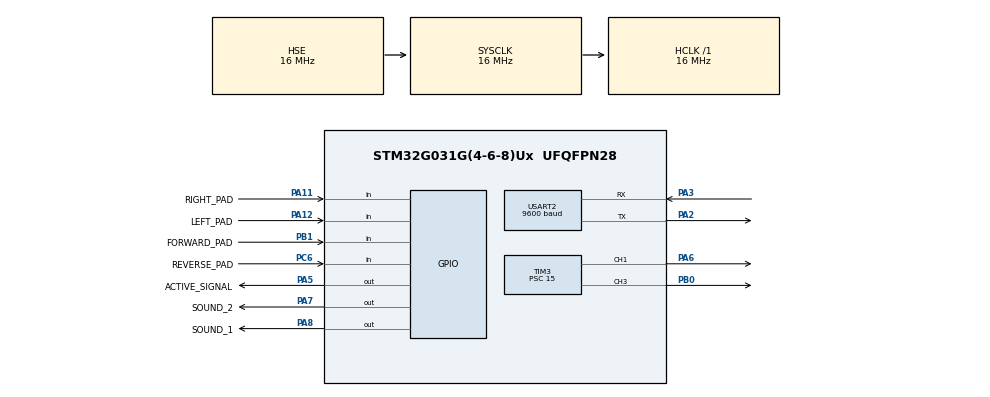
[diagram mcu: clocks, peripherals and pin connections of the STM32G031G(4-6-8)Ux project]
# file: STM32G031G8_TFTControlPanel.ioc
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Mcu.Family=STM32G0
Mcu.Name=STM32G031G(4-6-8)Ux
Mcu.Package=UFQFPN28
NVIC.USART2_IRQn=true\:0\:0\:false\:false\:true\:true\:true\:true
PA11\ [PA9].GPIO_Label=RIGHT_PAD
PA11\ [PA9].GPIO_PuPd=GPIO_PULLUP
PA11\ [PA9].Signal=GPIO_Input
PA12\ [PA10].GPIO_Label=LEFT_PAD
PA12\ [PA10].GPIO_PuPd=GPIO_PULLUP
PA12\ [PA10].Signal=GPIO_Input
PA13.Mode=Serial_Wire
PA13.Signal=SYS_SWDIO
PA14-BOOT0.Mode=Serial_Wire
PA14-BOOT0.Signal=SYS_SWCLK
PA2.Mode=Asynchronous
PA2.Signal=USART2_TX
PA3.Mode=Asynchronous
PA3.Signal=USART2_RX
PA5.GPIO_Label=ACTIVE_SIGNAL
PA5.PinState=GPIO_PIN_SET
PA5.Signal=GPIO_Output
PA6.Signal=S_TIM3_CH1
PA7.GPIO_Label=SOUND_2
PA7.GPIO_ModeDefaultOutputPP=GPIO_MODE_OUTPUT_PP
PA7.GPIO_PuPd=GPIO_NOPULL
PA7.PinState=GPIO_PIN_SET
PA7.Signal=GPIO_Output
PA8.GPIO_Label=SOUND_1
PA8.GPIO_ModeDefaultOutputPP=GPIO_MODE_OUTPUT_PP
PA8.GPIO_PuPd=GPIO_NOPULL
PA8.PinState=GPIO_PIN_SET
PA8.Signal=GPIO_Output
PB0.Signal=S_TIM3_CH3
PB1.GPIO_Label=FORWARD_PAD
PB1.GPIO_PuPd=GPIO_PULLUP
PB1.Signal=GPIO_Input
PC14-OSC32_IN\ (PC14).Mode=HSE-External-Clock-Source
PC14-OSC32_IN\ (PC14).Signal=RCC_OSC_IN
PC6.GPIO_Label=REVERSE_PAD
PC6.GPIO_PuPd=GPIO_PULLUP
PC6.Signal=GPIO_Input
ProjectManager.HeapSize=0x200
ProjectManager.StackSize=0x400
ProjectManager.TargetToolchain=STM32CubeIDE
RCC.ADCFreq_Value=16000000
RCC.AHBFreq_Value=16000000
RCC.CortexFreq_Value=16000000
RCC.EXTERNAL_CLOCK_VALUE=12288000
RCC.HCLKFreq_Value=16000000
RCC.HSE_VALUE=16000000
RCC.HSI_VALUE=16000000
RCC.LSE_VALUE=32768
RCC.PLLSourceVirtual=RCC_PLLSOURCE_HSE
RCC.SYSCLKFreq_VALUE=16000000
RCC.SYSCLKSource=RCC_SYSCLKSOURCE_HSE
RCC.VCOOutputFreq_Value=128000000
SH.S_TIM3_CH1.0=TIM3_CH1,PWM Generation1 CH1
SH.S_TIM3_CH3.0=TIM3_CH3,PWM Generation3 CH3
TIM3.Channel-PWM\ Generation1\ CH1=TIM_CHANNEL_1
TIM3.Channel-PWM\ Generation3\ CH3=TIM_CHANNEL_3
TIM3.Period=1000
TIM3.Prescaler=15
TIM3.Pulse-PWM\ Generation1\ CH1=500
USART2.BaudRate=9600
USART2.Mode=MODE_RX
USART2.VirtualMode-Asynchronous=VM_ASYNC
board=custom

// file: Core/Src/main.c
/* USER CODE BEGIN Header */
/**
  ******************************************************************************
  * @file           : main.c
  * @brief          : Main program body
  ******************************************************************************
  * @attention
  *
  * Copyright (c) 2024 STMicroelectronics.
  * All rights reserved.
  *
  * This software is licensed under terms that can be found in the LICENSE file
  * in the root directory of this software component.
  * If no LICENSE file comes with this software, it is provided AS-IS.
  *
  ******************************************************************************
  */
/* USER CODE END Header */
#include "main.h"

TIM_HandleTypeDef htim3;

UART_HandleTypeDef huart2;

/* USER CODE BEGIN PV */
#define THROTTLE_OFF		500
#define THROTTLE_FORWARD	800
#define THROTTLE_REVERSE	200

#define STEERING_STRAIGHT	500
#define STEERING_LEFT		200
#define STEERING_RIGHT		800
/* USER CODE END PV */

void SystemClock_Config(void);
static void MX_GPIO_Init(void);
static void MX_TIM3_Init(void);
static void MX_USART2_UART_Init(void);

/* USER CODE BEGIN 0 */
uint16_t pwmSteering = STEERING_STRAIGHT;
uint16_t pwmThrottle = THROTTLE_OFF;
int throttleOn = 0;
uint8_t rx_buffer[4];
uint32_t lastGoodCodeMillis = 0;
/* USER CODE END 0 */

int main(void)
{

  /* MCU Configuration--------------------------------------------------------*/

  /* Reset of all peripherals, Initializes the Flash interface and the Systick. */
  HAL_Init();

  /* Configure the system clock */
  SystemClock_Config();

  /* Initialize all configured peripherals */
  MX_GPIO_Init();
  MX_TIM3_Init();
  MX_USART2_UART_Init();
  /* USER CODE BEGIN 2 */
  HAL_TIM_PWM_Start(&htim3, TIM_CHANNEL_1);
  HAL_TIM_PWM_Start(&htim3, TIM_CHANNEL_3);

  HAL_UART_Receive_IT(&huart2, rx_buffer, 4);
  /* USER CODE END 2 */

  /* Infinite loop */
  /* USER CODE BEGIN WHILE */
  while (1)
  {
	  __HAL_TIM_SET_COMPARE(&htim3, TIM_CHANNEL_3, pwmSteering);
	  __HAL_TIM_SET_COMPARE(&htim3, TIM_CHANNEL_1, pwmThrottle);

	  HAL_Delay(20);

    /* USER CODE END WHILE */

  }
}

void SystemClock_Config(void)
{
  RCC_OscInitTypeDef RCC_OscInitStruct = {0};
  RCC_ClkInitTypeDef RCC_ClkInitStruct = {0};

  /** Configure the main internal regulator output voltage
  */
  HAL_PWREx_ControlVoltageScaling(PWR_REGULATOR_VOLTAGE_SCALE1);

  /** Initializes the RCC Oscillators according to the specified parameters
  * in the RCC_OscInitTypeDef structure.
  */
  RCC_OscInitStruct.OscillatorType = RCC_OSCILLATORTYPE_HSE;
  RCC_OscInitStruct.HSEState = RCC_HSE_BYPASS;
  RCC_OscInitStruct.PLL.PLLState = RCC_PLL_NONE;
  if (HAL_RCC_OscConfig(&RCC_OscInitStruct) != HAL_OK)
  {
    Error_Handler();
  }

  /** Initializes the CPU, AHB and APB buses clocks
  */
  RCC_ClkInitStruct.ClockType = RCC_CLOCKTYPE_HCLK|RCC_CLOCKTYPE_SYSCLK
                              |RCC_CLOCKTYPE_PCLK1;
  RCC_ClkInitStruct.SYSCLKSource = RCC_SYSCLKSOURCE_HSE;
  RCC_ClkInitStruct.AHBCLKDivider = RCC_SYSCLK_DIV1;
  RCC_ClkInitStruct.APB1CLKDivider = RCC_HCLK_DIV1;

  if (HAL_RCC_ClockConfig(&RCC_ClkInitStruct, FLASH_LATENCY_0) != HAL_OK)
  {
    Error_Handler();
  }
}

static void MX_TIM3_Init(void)
{

  TIM_MasterConfigTypeDef sMasterConfig = {0};
  TIM_OC_InitTypeDef sConfigOC = {0};

  htim3.Instance = TIM3;
  htim3.Init.Prescaler = 15;
  htim3.Init.CounterMode = TIM_COUNTERMODE_UP;
  htim3.Init.Period = 1000;
  htim3.Init.ClockDivision = TIM_CLOCKDIVISION_DIV1;
  htim3.Init.AutoReloadPreload = TIM_AUTORELOAD_PRELOAD_DISABLE;
  if (HAL_TIM_PWM_Init(&htim3) != HAL_OK)
  {
    Error_Handler();
  }
  sMasterConfig.MasterOutputTrigger = TIM_TRGO_RESET;
  sMasterConfig.MasterSlaveMode = TIM_MASTERSLAVEMODE_DISABLE;
  if (HAL_TIMEx_MasterConfigSynchronization(&htim3, &sMasterConfig) != HAL_OK)
  {
    Error_Handler();
  }
  sConfigOC.OCMode = TIM_OCMODE_PWM1;
  sConfigOC.Pulse = 500;
  sConfigOC.OCPolarity = TIM_OCPOLARITY_HIGH;
  sConfigOC.OCFastMode = TIM_OCFAST_DISABLE;
  if (HAL_TIM_PWM_ConfigChannel(&htim3, &sConfigOC, TIM_CHANNEL_1) != HAL_OK)
  {
    Error_Handler();
  }
  sConfigOC.Pulse = 0;
  if (HAL_TIM_PWM_ConfigChannel(&htim3, &sConfigOC, TIM_CHANNEL_3) != HAL_OK)
  {
    Error_Handler();
  }
  HAL_TIM_MspPostInit(&htim3);

}

static void MX_USART2_UART_Init(void)
{

  huart2.Instance = USART2;
  huart2.Init.BaudRate = 9600;
  huart2.Init.WordLength = UART_WORDLENGTH_8B;
  huart2.Init.StopBits = UART_STOPBITS_1;
  huart2.Init.Parity = UART_PARITY_NONE;
  huart2.Init.Mode = UART_MODE_RX;
  huart2.Init.HwFlowCtl = UART_HWCONTROL_NONE;
  huart2.Init.OverSampling = UART_OVERSAMPLING_16;
  huart2.Init.OneBitSampling = UART_ONE_BIT_SAMPLE_DISABLE;
  huart2.Init.ClockPrescaler = UART_PRESCALER_DIV1;
  huart2.AdvancedInit.AdvFeatureInit = UART_ADVFEATURE_NO_INIT;
  if (HAL_UART_Init(&huart2) != HAL_OK)
  {
    Error_Handler();
  }

}

static void MX_GPIO_Init(void)
{
  GPIO_InitTypeDef GPIO_InitStruct = {0};

  /* GPIO Ports Clock Enable */
  __HAL_RCC_GPIOC_CLK_ENABLE();
  __HAL_RCC_GPIOA_CLK_ENABLE();
  __HAL_RCC_GPIOB_CLK_ENABLE();

  /*Configure GPIO pin Output Level */
  HAL_GPIO_WritePin(GPIOA, ACTIVE_SIGNAL_Pin|SOUND_2_Pin|SOUND_1_Pin, GPIO_PIN_SET);

  /*Configure GPIO pins : ACTIVE_SIGNAL_Pin SOUND_2_Pin SOUND_1_Pin */
  GPIO_InitStruct.Pin = ACTIVE_SIGNAL_Pin|SOUND_2_Pin|SOUND_1_Pin;
  GPIO_InitStruct.Mode = GPIO_MODE_OUTPUT_PP;
  GPIO_InitStruct.Pull = GPIO_NOPULL;
  GPIO_InitStruct.Speed = GPIO_SPEED_FREQ_LOW;
  HAL_GPIO_Init(GPIOA, &GPIO_InitStruct);

  /*Configure GPIO pin : FORWARD_PAD_Pin */
  GPIO_InitStruct.Pin = FORWARD_PAD_Pin;
  GPIO_InitStruct.Mode = GPIO_MODE_INPUT;
  GPIO_InitStruct.Pull = GPIO_PULLUP;
  HAL_GPIO_Init(FORWARD_PAD_GPIO_Port, &GPIO_InitStruct);

  /*Configure GPIO pin : REVERSE_PAD_Pin */
  GPIO_InitStruct.Pin = REVERSE_PAD_Pin;
  GPIO_InitStruct.Mode = GPIO_MODE_INPUT;
  GPIO_InitStruct.Pull = GPIO_PULLUP;
  HAL_GPIO_Init(REVERSE_PAD_GPIO_Port, &GPIO_InitStruct);

  /*Configure GPIO pins : RIGHT_PAD_Pin LEFT_PAD_Pin */
  GPIO_InitStruct.Pin = RIGHT_PAD_Pin|LEFT_PAD_Pin;
  GPIO_InitStruct.Mode = GPIO_MODE_INPUT;
  GPIO_InitStruct.Pull = GPIO_PULLUP;
  HAL_GPIO_Init(GPIOA, &GPIO_InitStruct);

}

/* USER CODE BEGIN 4 */
void HAL_UART_RxCpltCallback(UART_HandleTypeDef *huart)
{
  switch(rx_buffer[1])
  {
	  case '0':		// Middle Go Button
		  throttleOn = 0;
		  pwmThrottle = THROTTLE_OFF;
		  pwmSteering = STEERING_STRAIGHT;
		  lastGoodCodeMillis = HAL_GetTick();
		  HAL_GPIO_WritePin(GPIOA, SOUND_1_Pin, GPIO_PIN_SET);
		  HAL_GPIO_WritePin(GPIOA, SOUND_2_Pin, GPIO_PIN_SET);
		  break;
	  case '1':		// Middle Go Button
		  throttleOn = 1;
		  pwmThrottle = THROTTLE_FORWARD;
		  pwmSteering = STEERING_STRAIGHT;
		  lastGoodCodeMillis = HAL_GetTick();
		  HAL_GPIO_WritePin(GPIOA, SOUND_1_Pin, GPIO_PIN_SET);
		  HAL_GPIO_WritePin(GPIOA, SOUND_2_Pin, GPIO_PIN_SET);
		  break;
	  case '2':		// Left Go Button
		  throttleOn = 1;
		  pwmThrottle = THROTTLE_FORWARD;
		  pwmSteering = STEERING_LEFT;
		  lastGoodCodeMillis = HAL_GetTick();
		  HAL_GPIO_WritePin(GPIOA, SOUND_1_Pin, GPIO_PIN_SET);
		  HAL_GPIO_WritePin(GPIOA, SOUND_2_Pin, GPIO_PIN_SET);
		  break;
	  case '3':		// Right Go Button
		  throttleOn = 1;
		  pwmThrottle = THROTTLE_FORWARD;
		  pwmSteering = STEERING_RIGHT;
		  lastGoodCodeMillis = HAL_GetTick();
		  HAL_GPIO_WritePin(GPIOA, SOUND_1_Pin, GPIO_PIN_SET);
		  HAL_GPIO_WritePin(GPIOA, SOUND_2_Pin, GPIO_PIN_SET);
		  break;
	  case '4':		// Left Sound Button
		  throttleOn = 0;
		  pwmThrottle = THROTTLE_OFF;
		  pwmSteering = STEERING_STRAIGHT;
		  lastGoodCodeMillis = HAL_GetTick();
		  HAL_GPIO_WritePin(GPIOA, SOUND_1_Pin, GPIO_PIN_RESET);
		  HAL_GPIO_WritePin(GPIOA, SOUND_2_Pin, GPIO_PIN_SET);
		  break;
	  case '5':		// Right Sound Button
		  throttleOn = 0;
		  pwmThrottle = THROTTLE_OFF;
		  pwmSteering = STEERING_STRAIGHT;
		  lastGoodCodeMillis = HAL_GetTick();
		  HAL_GPIO_WritePin(GPIOA, SOUND_1_Pin, GPIO_PIN_SET);
		  HAL_GPIO_WritePin(GPIOA, SOUND_2_Pin, GPIO_PIN_RESET);
		  break;
	  default:
		  // For some reason we are getting a bunch of bad data interspersed with good data
		  // so wait a bit before turning everything off
		  if (HAL_GetTick() - lastGoodCodeMillis > 50)
		  {
			  throttleOn = 0;
			  pwmThrottle = THROTTLE_OFF;
			  pwmSteering = STEERING_STRAIGHT;
			  HAL_GPIO_WritePin(GPIOA, SOUND_1_Pin, GPIO_PIN_SET);
			  HAL_GPIO_WritePin(GPIOA, SOUND_2_Pin, GPIO_PIN_SET);
		  }
  }

  HAL_UART_Receive_IT(&huart2, rx_buffer, 4);
}
/* USER CODE END 4 */

void Error_Handler(void)
{
  __disable_irq();
  while (1)
  {
  }
}
